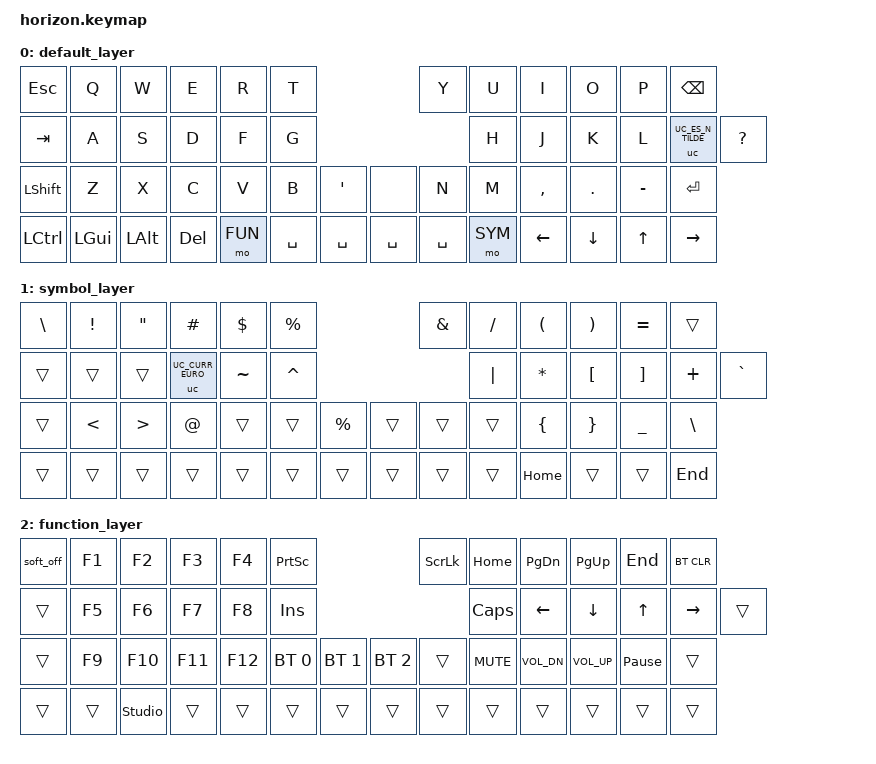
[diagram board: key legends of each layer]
/*
 * Copyright (c) 2021 The ZMK Contributors
 *
 * SPDX-License-Identifier: MIT
 */

#include <behaviors.dtsi>
#include <dt-bindings/zmk/keys.h>
#include <dt-bindings/zmk/bt.h>
#include <behaviors/unicode.dtsi>

#define DEF 0
#define SYM 1
#define FUN 2



&lt {
    tapping-term-ms = <180>;
    flavor = "tap-preferred";
};

/ {
    keymap {
        compatible = "zmk,keymap";

        default_layer {
            bindings = <
                &kp ESC     &kp Q    &kp W    &kp E     &kp R       &kp T                               &kp Y     &kp U     &kp I       &kp O       &kp P     &kp BSPC
                &kp TAB     &kp A    &kp S    &kp D     &kp F       &kp G                               &kp H     &kp J     &kp K       &kp L       &uc UC_ES_N_TILDE  &kp QMARK
                &kp LSHFT   &kp Z    &kp X    &kp C     &kp V       &kp B       &kp SQT     &none       &kp N     &kp M     &kp COMMA   &kp DOT     &kp MINUS &kp ENTER
                &kp LCTRL   &kp LGUI &kp LALT &kp DEL   &mo FUN    &kp SPACE   &kp SPACE   &kp SPACE   &kp SPACE &mo SYM     &kp LEFT    &kp DOWN  &kp UP    &kp RIGHT
            >;
        };

        symbol_layer {
            bindings = <
                &kp BSLH    &kp EXCL    &kp DQT     &kp HASH    &kp DLLR    &kp PRCNT                           &kp AMPS    &kp SLASH   &kp LPAR    &kp RPAR    &kp EQUAL   &trans
                &trans      &trans      &trans      &uc UC_CURR_EURO  &kp TILDE   &kp CARET                           &kp PIPE    &kp ASTRK   &kp LBKT    &kp RBKT    &kp PLUS    &kp GRAVE
                &trans      &kp LT      &kp GT      &kp AT      &trans      &trans      &kp PRCNT   &trans      &trans      &trans      &kp LBRC    &kp RBRC    &kp UNDER   &kp BSLH
                &trans      &trans      &trans      &trans      &trans      &trans      &trans      &trans      &trans      &trans      &kp HOME    &trans      &trans      &kp END
            >;
        };

        function_layer {
            bindings = <
            &soft_off   &kp F1 &kp F2         &kp F3  &kp F4  &kp PSCRN                                 &kp SLCK    &kp HOME   &kp PG_DN    &kp PG_UP    &kp END         &bt BT_CLR
            &trans      &kp F5 &kp F6         &kp F7  &kp F8  &kp INS                                   &kp CLCK    &kp LEFT   &kp DOWN     &kp UP       &kp RIGHT       &trans
            &trans      &kp F9 &kp F10        &kp F11 &kp F12 &bt BT_SEL 0 &bt BT_SEL 1 &bt BT_SEL 2    &trans      &kp C_MUTE &kp C_VOL_DN &kp C_VOL_UP &kp PAUSE_BREAK &trans
            &trans      &trans &studio_unlock &trans  &trans  &trans       &trans       &trans          &trans      &trans     &trans       &trans       &trans          &trans
             >;
         };
     };
};
